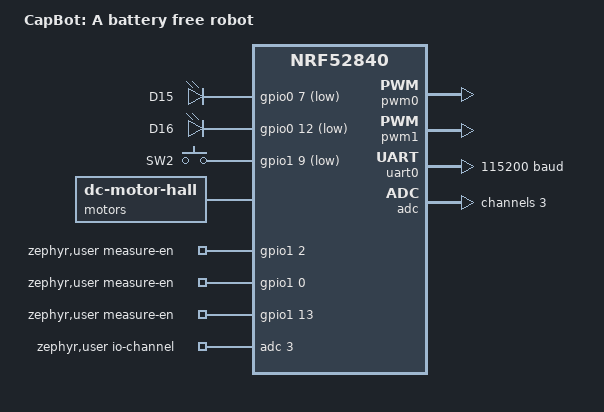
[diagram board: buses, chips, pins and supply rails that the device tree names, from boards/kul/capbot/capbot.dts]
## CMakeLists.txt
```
cmake_minimum_required(VERSION 3.20.0)
list(APPEND BOARD_ROOT ${CMAKE_CURRENT_SOURCE_DIR})
find_package(Zephyr REQUIRED HINTS $ENV{ZEPHYR_BASE})

project(peripheral)

include_directories(inc)
target_sources(app PRIVATE src/main.c src/capbot_io.c src/capbot_adc.c src/capbot_motor.c src/robot_control_service.c)
```

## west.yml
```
# Source: inspired by https://youtu.be/PVhu5rg_SGY?si=bh-u1Fmv55d89Slv

manifest:
    version: 0.13

    projects:
        # The nRF Connect SDK
        - name: nrf
          url: https://github.com/nrfconnect/sdk-nrf
          revision: v2.7.0
          import:
              file: west.yml
              path-prefix: deps
              name-allowlist:
                  - cmsis
                  - hal_nordic
                  - nrfxlib
                  - zephyr

    self:
        path: peripheral
```

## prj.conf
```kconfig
# Enable serial driver
CONFIG_SERIAL=y

# Enable console drivers
CONFIG_CONSOLE=y
CONFIG_UART_CONSOLE=y

# Enable logging
CONFIG_LOG=y


# Enable BLE
CONFIG_BT=y
CONFIG_BT_PERIPHERAL=y
CONFIG_BT_GATT_CACHING=n
```

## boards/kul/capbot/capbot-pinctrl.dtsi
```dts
// Pin mapping for CapBot

&pinctrl {
    pwm0_default: pwm0_default {
        group1 {
            psels = <NRF_PSEL(PWM_OUT0, 0, 9)>,
                    <NRF_PSEL(PWM_OUT1, 0, 15)>,
                    <NRF_PSEL(PWM_OUT2, 1, 10)>,
                    <NRF_PSEL(PWM_OUT3, 0, 30)>;
        };
    };

    pwm1_default: pwm1_default {
        group1 {
            psels = <NRF_PSEL(PWM_OUT0, 0, 10)>,
                    <NRF_PSEL(PWM_OUT1, 0, 17)>,
                    <NRF_PSEL(PWM_OUT2, 1, 11)>,
                    <NRF_PSEL(PWM_OUT3, 0, 31)>;
        };
    };

    uart0_default: uart0_default {
        group1 {
            psels = <NRF_PSEL(UART_RX, 0, 24)>;
            bias-pull-up;
        };
        group2 {
            psels = <NRF_PSEL(UART_TX, 0, 13)>;
        };
    };

    uart0_sleep: uart0_sleep {
        group1 {
            psels = <NRF_PSEL(UART_RX, 0, 24)>,
                    <NRF_PSEL(UART_TX, 0, 13)>;
            low-power-enable;
        };
    };
};
```

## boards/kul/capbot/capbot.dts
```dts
/dts-v1/;
#include <nordic/nrf52840_qiaa.dtsi>
#include "capbot-pinctrl.dtsi"

/ {
    model = "CapBot: A battery free robot";
    compatible = "kul,capbot";

    chosen {
        zephyr,console = &uart0;
        zephyr,sram = &sram0;
        zephyr,flash = &flash0;
        zephyr,code-partition = &slot0_partition;
    };

    leds {
        compatible = "gpio-leds";
        led0: led_0 {
            gpios = <&gpio0 7 GPIO_ACTIVE_LOW>;
            label = "D15";
        };
        led1: led_1 {
            gpios = <&gpio0 12 GPIO_ACTIVE_LOW>;
            label = "D16";
        };
    };

    buttons {
        compatible = "gpio-keys";
        button0: button_0 {
            gpios = <&gpio1 9 GPIO_ACTIVE_LOW>;
            label = "SW2";
        };
    };

    motors {
        compatible = "dc-motor-hall";

        motor1: motor_1 {
            // Switch pins for left-side motors
            pwms = <&pwm1 0 PWM_MSEC(20) PWM_POLARITY_NORMAL>,
                   <&pwm0 0 PWM_MSEC(20) PWM_POLARITY_NORMAL>;

            hall-gpios = <&gpio1 6 GPIO_ACTIVE_HIGH>,
                         <&gpio1 4 GPIO_ACTIVE_HIGH>;

        };

        motor2: motor_2 {
            pwms = <&pwm0 1 PWM_MSEC(20) PWM_POLARITY_NORMAL>,
                   <&pwm1 1 PWM_MSEC(20) PWM_POLARITY_NORMAL>;
            hall-gpios = <&gpio0 20 GPIO_ACTIVE_HIGH>,
                         <&gpio0 22 GPIO_ACTIVE_HIGH>;
        };

        motor3: motor_3 {
            // Switch pins for left-side motors
            pwms = <&pwm1 2 PWM_MSEC(20) PWM_POLARITY_NORMAL>,
                   <&pwm0 2 PWM_MSEC(20) PWM_POLARITY_NORMAL>;
            hall-gpios = <&gpio0 3 GPIO_ACTIVE_HIGH>,
                         <&gpio0 2 GPIO_ACTIVE_HIGH>;
        };

        motor4: motor_4 {
            pwms = <&pwm0 3 PWM_MSEC(20) PWM_POLARITY_NORMAL>,
                   <&pwm1 3 PWM_MSEC(20) PWM_POLARITY_NORMAL>;
            hall-gpios = <&gpio0 28 GPIO_ACTIVE_HIGH>,
                         <&gpio0 29 GPIO_ACTIVE_HIGH>;
        };
    };

    zephyr,user {
        io-channels = <&adc 3>;
        measure-en-gpios = <&gpio1 2 GPIO_ACTIVE_HIGH>,
                           <&gpio1 0 GPIO_ACTIVE_HIGH>,
                           <&gpio1 13 GPIO_ACTIVE_HIGH>;
    };

    aliases {
        // Aliases for use in software
        d15 = &led0;
        d16 = &led1;
        sw2 = &button0;
        mfl = &motor1;
        mfr = &motor2;
        mbl = &motor3;
        mbr = &motor4;
    };
};

&flash0 {
    partitions {
        compatible = "fixed-partitions";
        #address-cells = <1>;
        #size-cells = <1>;

        boot_partition: partition@0 {
            label = "mcuboot";
            reg = <0x00000000 DT_SIZE_K(48)>;
        };

        slot0_partition: partition@c000 {
            label = "image-0";
            reg = <0x0000c000 DT_SIZE_K(472)>;
        };

        slot1_partition: partition@82000 {
            label = "image-1";
            reg = <0x00082000 DT_SIZE_K(472)>;
        };

        storage_partition: partition@f8000 {
            label = "storage";
            reg = <0x000f8000 DT_SIZE_K(32)>;
        };
    };
};

&gpiote {
    status = "okay";
};

&gpio0 {
    status = "okay";
};

&gpio1 {
    status = "okay";
};

&uicr {
    nfct-pins-as-gpios;
};

&nfct {
    status = "disabled";
};

&pwm0 {
    status = "okay";
    pinctrl-0 = <&pwm0_default>;
    pinctrl-names = "default";
};

&pwm1 {
    status = "okay";
    pinctrl-0 = <&pwm1_default>;
    pinctrl-names = "default";
};


&uart0 {
    status = "okay";
    current-speed = <115200>;
    pinctrl-0 = <&uart0_default>;
    pinctrl-1 = <&uart0_sleep>;
    pinctrl-names = "default", "sleep";
};


&adc {
    #address-cells = <1>;
    #size-cells = <0>;
    status = "okay";

    ain_3: channel@3 {
        reg = <3>;
        zephyr,gain = "ADC_GAIN_4"; /* nRF52840 DOCS: ΔVmeasure = Vref / GAIN */
        zephyr,reference = "ADC_REF_INTERNAL"; /* nRF52840 DOCS: Internal Vref = 600mV */
        zephyr,acquisition-time = <ADC_ACQ_TIME(ADC_ACQ_TIME_MICROSECONDS, 40)>; /* nRF52840 DOCS: input R > 400k => 40ms */
        zephyr,input-positive = <NRF_SAADC_AIN3>; /* P0.05 */
        zephyr,resolution = <14>;
    };

};

&temp {
    status = "disabled";
};

&cryptocell {
    status = "disabled";
};

&ecb {
    status = "disabled";
};

&ccm {
    status = "disabled";
};


&acl {
    status = "disabled";
};
```

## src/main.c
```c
/**
 * @file main.c
 * @author Lowie Deferme <lowie.deferme@kuleuven.be>
 * @brief Robot control via BLE GATT service
 */

#include <zephyr/kernel.h>
#include <zephyr/logging/log.h>

#include "capbot.h"

LOG_MODULE_REGISTER(capbot, LOG_LEVEL_DBG);

// -----------------------------------------------------------------------------
// Structure & methods for inter-thread comm/sync
// -----------------------------------------------------------------------------

K_MUTEX_DEFINE(ble_status_mutex);

typedef enum ble_status_e
{
    BLE_ADVERTISING,
    BLE_CONNECTED,
    BLE_ERROR,
} ble_status_t;

/** @brief Global static to hold BLE status. Never access directly but use `ble_status` and `update_ble_status` instead */
static ble_status_t ble_status_g;

ble_status_t ble_status(void)
{
    ble_status_t clone;
    k_mutex_lock(&ble_status_mutex, K_FOREVER);
    clone = ble_status_g;
    k_mutex_unlock(&ble_status_mutex);
    return clone;
}

void update_ble_status(ble_status_t status)
{
    k_mutex_lock(&ble_status_mutex, K_FOREVER);
    // TODO: FSM?
    ble_status_g = status;
    k_mutex_unlock(&ble_status_mutex);
}

// -----------------------------------------------------------------------------
// BLE task
//
// Initialize robot's BLE GATT service
// -----------------------------------------------------------------------------

void t_ble_init_ep(void *, void *, void *)
{
    LOG_DBG("Initializing BLE...");
    for (;;)
    {
        LOG_WRN("Fake BLE status updates");
        update_ble_status(BLE_ADVERTISING);
        k_sleep(K_MSEC(5000));
        update_ble_status(BLE_CONNECTED);
        k_sleep(K_MSEC(5000));
        update_ble_status(BLE_ERROR);
        k_sleep(K_MSEC(5000));
    }
}

#define T_BLE_INIT_STACKSIZE 1024
#define T_BLE_INIT_PRIORITY 1
#define T_BLE_INIT_OPTIONS 0
#define T_BLE_INIT_DELAY 0
K_THREAD_DEFINE(ble_init, T_BLE_INIT_STACKSIZE, t_ble_init_ep, NULL, NULL, NULL, T_BLE_INIT_PRIORITY, T_BLE_INIT_OPTIONS, T_BLE_INIT_DELAY);

// -----------------------------------------------------------------------------
// Status led task
//
// This task makes the status leds blink in different patterns based on the
// current BLE status
// -----------------------------------------------------------------------------

/**
 * @brief Determine pattern mask for BLE status led
 *
 * @param status Status to get pattern for
 * @return uint16_t The pattern
 */
uint16_t ble_led_pattern(ble_status_t status)
{
    switch (status)
    {
    case BLE_ADVERTISING:
        return 0b1111111100000000;
    case BLE_CONNECTED:
        return 0b1111111111111111;
    case BLE_ERROR:
        return 0b1010101010101010;
    default:
        LOG_WRN("Could not determine BLE status led pattern, using ERROR pattern instead");
        return ble_led_pattern(BLE_ERROR);
    }
}

/** @brief Entry point of status led task */
void t_status_led_ep(void *, void *, void *)
{
    const cb_led_t status_led = CB_D15;
    uint16_t led_pattern = 0;
    uint8_t pattern_index = 0;

    if (cb_io_init())
    {
        LOG_ERR("Could not initialize robot IO");
        return;
    }

    // DEBUG: print VCap
    cb_measure_init();
    LOG_DBG("VCap = %d mV", cb_measure_vcap());

    // DEBUG: run motors for a sec.
    cb_motor_speed_t speed = {.front_left = 80, .front_right = -80, .back_left = 80, .back_right = -80};
    cb_motor_init();
    cb_set_motor_speed(&speed);
    k_sleep(K_MSEC(1000));
    cb_stop();

    for (;;)
    {
        // Get pattern based on current BLE status
        led_pattern = ble_led_pattern(ble_status());
        // Update led based on patters and index
        int err = ((led_pattern >> pattern_index) & 0b1) ? cb_led_set(status_led) : cb_led_clr(status_led);
        if (err)
            LOG_WRN("Error during BLE status led update");
        // Update index
        pattern_index = (pattern_index + 1) % (sizeof(led_pattern) * 8);
        // Sleep before next update => circa one pattern cycle per second
        k_sleep(K_MSEC(62));
    }
}

#define T_STATUS_LED_STACKSIZE 256 * 4
#define T_STATUS_LED_PRIORITY 10
#define T_STATUS_LED_OPTIONS 0
#define T_STATUS_LED_DELAY 0
K_THREAD_DEFINE(status_led, T_STATUS_LED_STACKSIZE, t_status_led_ep, NULL, NULL, NULL, T_STATUS_LED_PRIORITY, T_STATUS_LED_OPTIONS, T_STATUS_LED_DELAY);
```

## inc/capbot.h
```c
/**
 * @file capbot.h
 * @author Lowie Deferme <lowie.deferme@kuleuven.be>
 * @brief Header file for CapBot library
 */

#ifndef CAPBOT_H
#define CAPBOT_H

// -----------------------------------------------------------------------------
// On-board IO
// -----------------------------------------------------------------------------

typedef enum
{
    CB_D15,
    CB_D16,
} cb_led_t;

/** @brief Initialize robot's leds & button */
int cb_io_init(void);

/**
 * @brief Turn led on
 *
 * @param led The led to set
 */
int cb_led_set(cb_led_t led);

/**
 * @brief Turn led off
 *
 * @param led The led to clear
 */
int cb_led_clr(cb_led_t led);

/**
 * @brief Toggle a led
 *
 * @param led The led to toggle
 */
int cb_led_tgl(cb_led_t led);

/**
 * @brief Get a led's status
 *
 * @param led The led to get
 * @retval 0: the led is turned off
 * @retval 1: the led is turned on
 */
int cb_led_get(cb_led_t led);

/**
 * @brief Get button status
 *
 * @retval 0: the button isn't pressed
 * @retval 1: the button is pressed
 */
int cb_btn_get(void);

// -----------------------------------------------------------------------------
// On-board voltage measurements
// -----------------------------------------------------------------------------
typedef enum
{
    CB_VNONE,
    CB_VIN,
    CB_VCAP,
    CB_VMOTOR,
} cb_measure_t;

/**
 * @brief Initialize robot's voltage measurement system
 *
 * @return int
 */
int cb_measure_init(void);

/**
 * @brief Measure supercapacitor voltage
 *
 * @retval >0 : The measured voltage in mV
 * @retval `E_ADC_ERR` : Could not read from ADC
 */
int cb_measure_vcap(void);

// -----------------------------------------------------------------------------
// Robot drive API
// -----------------------------------------------------------------------------

/** @brief Motor speeds (rpm) */
typedef struct
{
    /** @brief Front left motor speed (rpm)*/
    int front_left;
    /** @brief Front right motor speed (rpm)*/
    int front_right;
    /** @brief Back left motor speed (rpm)*/
    int back_left;
    /** @brief Back right motor speed (rpm)*/
    int back_right;
} cb_motor_speed_t;

/**
 * @brief Initialize motors
 * @details v1.0 equivalent: Motors_init(void)
 * @details v2.* equivalent: fb_motor_init(void)
 */
int cb_motor_init(void);


/**
 * @brief Set motor speeds
 * @param speeds struct with the new speeds
 */
void cb_set_motor_speed(cb_motor_speed_t *speeds);

/**
 * @brief Get motor speeds
 * @param speeds struct to populate with the new speeds
 */
void cb_get_motor_speed(cb_motor_speed_t *speeds);

/* Convenience API overview:
 *                          ^
 *                          |
 *                       cb_forw
 *                          |
 *
 *                 +----------------+
 *             +---+                +---+
 *             |   |                |   |
 *             |   |                |   |
 *             |   |                |   |
 *             |   |                |   |
 *             +---+                +---+
 *                 |                |
 *       cb_left   |                |   cb_right
 *  <-----------   |    cb_stop     |   ------------>
 *                 |                |
 *                 |                |
 *             +---+                +---+
 *             |   |                |   |
 *             |   |                |   |
 *             |   |                |   |
 *             |   |                |   |
 *             +---+                +---+
 *                 +----------------+
 *
 *                          |
 *                       cb_back
 *                          |
 *                          v
 */

/** @brief Stop the robot */
void cb_stop(void);

/**
 * @brief Move robot forwards
 * @details v1.0 equivalent: FreeBotStraight_Forward(bool MotorSpeed)
 * @details v2.* equivalent: fb_straight_forw(unsigned int speed)
 *
 * @param speed Desired speed (rpm)
 */
// void cb_forw(unsigned int speed);

/**
 * @brief Move robot backwards
 * @details v1.0 equivalent: FreeBotStraight_Backward(bool MotorSpeed)
 * @details v2.* equivalent: fb_straight_back(unsigned int speed)
 *
 * @param speed Desired speed (rpm)
 */
// void cb_back(unsigned int speed);

/**
 * @brief Move robot right
 * @details v1.0 equivalent: FreeBotSide_Right(bool MotorSpeed)
 * @details v2.* equivalent: fb_side_right(unsigned int speed)
 *
 * @param speed Desired speed (rpm)
 */
// void cb_right(unsigned int speed);

/**
 * @brief Move robot  left
 * @details v1.0 equivalent: FreeBotSide_Left(bool MotorSpeed)
 * @details v2.* equivalent: fb_side_left(unsigned int speed)
 *
 * @param speed Desired speed (rpm)
 */
// void cb_left(unsigned int speed);

/**
 * @brief Rotate clockwise
 * @details v1.0 equivalent: FreeBotRotate_CLOCKWISE(bool MotorSpeed)
 * @details v2.* equivalent: fb_rotate_cw(unsigned int speed)
 *
 * @param speed Desired wheel speed (rpm)
 */
// void cb_rotate_cw(unsigned int speed);

/**
 * @brief Rotate counterclockwise
 * @details v1.0 equivalent: FreeBotRotate_COUNTERCLOCKWISE(bool MotorSpeed)
 * @details v2.* equivalent: fb_rotate_ccw(unsigned int speed)
 *
 * @param speed Desired wheel speed (rpm)
 */
// void cb_rotate_ccw(unsigned int speed);

#endif /* CAPBOT_H */
```

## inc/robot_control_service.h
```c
/**
 * @file robot_control_service.h
 * @author Lowie Deferme <lowie.deferme@kuleuven.be>
 * @date 2025-01-02
 */

#ifndef RCS_H
#define RCS_H

#include <stdint.h>
#include <zephyr/bluetooth/uuid.h>

// -----------------------------------------------------------------------------
// Robot Control Service (RCS)
// -----------------------------------------------------------------------------

#define BT_UUID_RCS_VAL BT_UUID_128_ENCODE(0x00000030, 0x0000, 0x1000, 0x8000, 0x00805f9b34fb)
#define BT_UUID_RCS BT_UUID_DECLARE_128(BT_UUID_RCS_VAL)

// -----------------------------------------------------------------------------
// Motor drive characteristic
// -----------------------------------------------------------------------------

#define BT_UUID_RCS_DRIVE_VAL BT_UUID_128_ENCODE(0x00000031, 0x0000, 0x1000, 0x8000, 0x00805f9b34fb)
#define BT_UUID_RCS_DRIVE BT_UUID_DECLARE_128(BT_UUID_RCS_DRIVE_VAL)

/** @brief Data format for motor drive characteristic */
typedef struct
{
    /** @brief Target speed (RPM) for front left motor */
    int8_t fl;
    /** @brief Target speed (RPM) for front right motor */
    int8_t fr;
    /** @brief Target speed (RPM) for back left motor */
    int8_t bl;
    /** @brief Target speed (RPM) for back right motor */
    int8_t br;
    /** @brief The amount of milliseconds to keep target speeds before stopping */
    uint32_t dur;
} rcs_drive_t;

// -----------------------------------------------------------------------------
// Motor speed characteristic
// -----------------------------------------------------------------------------

#define BT_UUID_RCS_SPEED_VAL BT_UUID_128_ENCODE(0x00000032, 0x0000, 0x1000, 0x8000, 0x00805f9b34fb)
#define BT_UUID_RCS_SPEED BT_UUID_DECLARE_128(BT_UUID_RCS_SPEED_VAL)

/** @brief Data format for motor speed characteristic */
typedef struct
{
    /** @brief Measured speed (RPM) of front left motor */
    int8_t fl;
    /** @brief Measured speed (RPM) of front right motor */
    int8_t fr;
    /** @brief Measured speed (RPM) of back left motor */
    int8_t bl;
    /** @brief Measured speed (RPM) of back right motor */
    int8_t br;
} rcs_speed_t;

// -----------------------------------------------------------------------------
// Motor angle characteristic
// -----------------------------------------------------------------------------

#define BT_UUID_RCS_ANGLE_VAL BT_UUID_128_ENCODE(0x00000033, 0x0000, 0x1000, 0x8000, 0x00805f9b34fb)
#define BT_UUID_RCS_ANGLE BT_UUID_DECLARE_128(BT_UUID_RCS_ANGLE_VAL)

/** @brief Data format for motor angle characteristic */
typedef struct
{
    /** @brief Measured angle (degrees) of front left motor */
    int32_t fl;
    /** @brief Measured angle (degrees) of front right motor */
    int32_t fr;
    /** @brief Measured angle (degrees) of back left motor */
    int32_t bl;
    /** @brief Measured angle (degrees) of back right motor */
    int32_t br;
} rcs_angle_t;

// -----------------------------------------------------------------------------
// Voltage measurement characteristic
// -----------------------------------------------------------------------------

#define BT_UUID_RCS_VOLT_VAL BT_UUID_128_ENCODE(0x00000034, 0x0000, 0x1000, 0x8000, 0x00805f9b34fb)
#define BT_UUID_RCS_VOLT BT_UUID_DECLARE_128(BT_UUID_RCS_VOLT_VAL)

/** @brief Data format for voltage measurement characteristic */
typedef struct
{
    /** @brief Measured voltage (mV) */
    uint16_t volt;
} rcs_volt_t;

#endif /* RCS_H */
```

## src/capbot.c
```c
/**
 * @file capbot.c
 * @author Lowie Deferme <lowie.deferme@kuleuven.be>
 * @brief CapBot library implementation
 */

#include <zephyr/drivers/gpio.h>
#include <zephyr/drivers/adc.h>

#include "capbot.h"

// -----------------------------------------------------------------------------
// Robot's on-board IO
// -----------------------------------------------------------------------------

static const struct gpio_dt_spec d15 = GPIO_DT_SPEC_GET(DT_ALIAS(d15), gpios);
static const struct gpio_dt_spec d16 = GPIO_DT_SPEC_GET(DT_ALIAS(d16), gpios);
static const struct gpio_dt_spec sw2 = GPIO_DT_SPEC_GET(DT_ALIAS(sw2), gpios);

int cb_io_init(void)
{
    int err = 0;

    if (gpio_is_ready_dt(&d15))
    {
        err |= gpio_pin_configure_dt(&d15, GPIO_OUTPUT | GPIO_INPUT);
        err |= gpio_pin_set_dt(&d15, 0);
    }
    else
    {
        err = 1;
    }

    if (gpio_is_ready_dt(&d16))
    {
        err |= gpio_pin_configure_dt(&d16, GPIO_OUTPUT | GPIO_INPUT);
        err |= gpio_pin_set_dt(&d16, 0);
    }
    else
    {
        err = 1;
    }

    if (gpio_is_ready_dt(&sw2))
    {
        err |= gpio_pin_configure_dt(&sw2, GPIO_INPUT);
    }
    else
    {
        err = 1;
    }

    return err;
}

const struct gpio_dt_spec *cb_led_from_id(cb_led_t led)
{
    switch (led)
    {
    case CB_D15:
        return &d15;
    case CB_D16:
        return &d16;
    default:
        return NULL;
    }
}

int cb_led_set(cb_led_t led)
{
    const struct gpio_dt_spec *led_dt = cb_led_from_id(led);
    if (led_dt != NULL)
    {
        return gpio_pin_set_dt(led_dt, 1);
    }

    return 1;
}

int cb_led_clr(cb_led_t led)
{
    const struct gpio_dt_spec *led_dt = cb_led_from_id(led);
    if (led_dt != NULL)
    {
        return gpio_pin_set_dt(led_dt, 0);
    }

    return 1;
}

int cb_led_tgl(cb_led_t led)
{
    const struct gpio_dt_spec *led_dt = cb_led_from_id(led);
    if (led_dt != NULL)
    {
        return gpio_pin_toggle_dt(led_dt);
    }

    return 1;
}

int cb_led_get(cb_led_t led)
{
    const struct gpio_dt_spec *led_dt = cb_led_from_id(led);
    if (led_dt != NULL)
    {
        return gpio_pin_get_dt(led_dt);
    }

    return 1;
}

int cb_btn_get(void)
{
    return gpio_pin_get_dt(&sw2);
}

// -----------------------------------------------------------------------------
// On-board voltage measurements
// -----------------------------------------------------------------------------

static const struct adc_dt_spec v_measure = ADC_DT_SPEC_GET(DT_PATH(zephyr_user));
static const struct gpio_dt_spec measure_en_vin = GPIO_DT_SPEC_GET_BY_IDX(DT_PATH(zephyr_user), measure_en_gpios, 0);
static const struct gpio_dt_spec measure_en_vcap = GPIO_DT_SPEC_GET_BY_IDX(DT_PATH(zephyr_user), measure_en_gpios, 1);
static const struct gpio_dt_spec measure_en_vmotor = GPIO_DT_SPEC_GET_BY_IDX(DT_PATH(zephyr_user), measure_en_gpios, 2);

int cb_measure_init(void)
{
    int err = 0;

    if (adc_is_ready_dt(&v_measure))
    {
        err |= adc_channel_setup_dt(&v_measure);
    }
    else
    {
        return 1;
    }

    if (gpio_is_ready_dt(&measure_en_vin))
    {
        err |= gpio_pin_configure_dt(&measure_en_vin, GPIO_OUTPUT);
        err |= gpio_pin_set_dt(&measure_en_vin, 0);
    }
    else
    {
        err = 1;
    }

    if (gpio_is_ready_dt(&measure_en_vcap))
    {
        err |= gpio_pin_configure_dt(&measure_en_vcap, GPIO_OUTPUT);
        err |= gpio_pin_set_dt(&measure_en_vcap, 0);
    }
    else
    {
        err = 1;
    }

    if (gpio_is_ready_dt(&measure_en_vmotor))
    {
        err |= gpio_pin_configure_dt(&measure_en_vmotor, GPIO_OUTPUT);
        err |= gpio_pin_set_dt(&measure_en_vmotor, 0);
    }
    else
    {
        err = 1;
    }

    return 0;
}

int cb_measure_select(cb_measure_t sel)
{
    int err = 0;
    switch (sel)
    {
    case CB_VNONE:
        err |= gpio_pin_set_dt(&measure_en_vin, 0);
        err |= gpio_pin_set_dt(&measure_en_vcap, 0);
        err |= gpio_pin_set_dt(&measure_en_vmotor, 0);
        return err;
    case CB_VIN:
        err |= cb_measure_select(CB_VNONE);
        err |= gpio_pin_set_dt(&measure_en_vin, 1);
        return err;
    case CB_VCAP:
        err |= cb_measure_select(CB_VNONE);
        err |= gpio_pin_set_dt(&measure_en_vcap, 1);
        return err;
    case CB_VMOTOR:
        err |= cb_measure_select(CB_VNONE);
        err |= gpio_pin_set_dt(&measure_en_vmotor, 1);
        return err;
    default:
        err |= cb_measure_select(CB_VNONE);
        return err | 1;
    }
}

int cb_measure_vcap(void)
{
    if (!gpio_pin_get_dt(&measure_en_vcap))
    {
        cb_measure_select(CB_VCAP);
        k_sleep(K_MSEC(10));
    }

    int err = 0;
    uint32_t buf;
    struct adc_sequence sequence = {
        .buffer = &buf,
        /* buffer size in bytes, not number of samples */
        .buffer_size = sizeof(buf),
    };

    err |= adc_sequence_init_dt(&v_measure, &sequence);
    err |= adc_read_dt(&v_measure, &sequence);
    err |= adc_raw_to_millivolts_dt(&v_measure, &buf);

    // TODO: Verify conversion (below is a theoretic value according to voltage divider)
    return buf * 40;
}
```

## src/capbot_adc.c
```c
/**
 * @file capbot_adc.c
 * @author Lowie Deferme <lowie.deferme@kuleuven.be>
 * @brief CapBot voltage measurements
 */

#include <zephyr/drivers/gpio.h>
#include <zephyr/drivers/adc.h>

#include "capbot.h"

static const struct adc_dt_spec v_measure = ADC_DT_SPEC_GET(DT_PATH(zephyr_user));
static const struct gpio_dt_spec measure_en_vin = GPIO_DT_SPEC_GET_BY_IDX(DT_PATH(zephyr_user), measure_en_gpios, 0);
static const struct gpio_dt_spec measure_en_vcap = GPIO_DT_SPEC_GET_BY_IDX(DT_PATH(zephyr_user), measure_en_gpios, 1);
static const struct gpio_dt_spec measure_en_vmotor = GPIO_DT_SPEC_GET_BY_IDX(DT_PATH(zephyr_user), measure_en_gpios, 2);

int cb_measure_init(void)
{
    int err = 0;

    if (adc_is_ready_dt(&v_measure))
    {
        err |= adc_channel_setup_dt(&v_measure);
    }
    else
    {
        return 1;
    }

    if (gpio_is_ready_dt(&measure_en_vin))
    {
        err |= gpio_pin_configure_dt(&measure_en_vin, GPIO_OUTPUT);
        err |= gpio_pin_set_dt(&measure_en_vin, 0);
    }
    else
    {
        err = 1;
    }

    if (gpio_is_ready_dt(&measure_en_vcap))
    {
        err |= gpio_pin_configure_dt(&measure_en_vcap, GPIO_OUTPUT);
        err |= gpio_pin_set_dt(&measure_en_vcap, 0);
    }
    else
    {
        err = 1;
    }

    if (gpio_is_ready_dt(&measure_en_vmotor))
    {
        err |= gpio_pin_configure_dt(&measure_en_vmotor, GPIO_OUTPUT);
        err |= gpio_pin_set_dt(&measure_en_vmotor, 0);
    }
    else
    {
        err = 1;
    }

    return 0;
}

int cb_measure_select(cb_measure_t sel)
{
    int err = 0;
    switch (sel)
    {
    case CB_VNONE:
        err |= gpio_pin_set_dt(&measure_en_vin, 0);
        err |= gpio_pin_set_dt(&measure_en_vcap, 0);
        err |= gpio_pin_set_dt(&measure_en_vmotor, 0);
        return err;
    case CB_VIN:
        err |= cb_measure_select(CB_VNONE);
        err |= gpio_pin_set_dt(&measure_en_vin, 1);
        return err;
    case CB_VCAP:
        err |= cb_measure_select(CB_VNONE);
        err |= gpio_pin_set_dt(&measure_en_vcap, 1);
        return err;
    case CB_VMOTOR:
        err |= cb_measure_select(CB_VNONE);
        err |= gpio_pin_set_dt(&measure_en_vmotor, 1);
        return err;
    default:
        err |= cb_measure_select(CB_VNONE);
        return err | 1;
    }
}

int cb_measure_vcap(void)
{
    if (!gpio_pin_get_dt(&measure_en_vcap))
    {
        cb_measure_select(CB_VCAP);
        k_sleep(K_MSEC(10));
    }

    int err = 0;
    uint32_t buf;
    struct adc_sequence sequence = {
        .buffer = &buf,
        /* buffer size in bytes, not number of samples */
        .buffer_size = sizeof(buf),
    };

    err |= adc_sequence_init_dt(&v_measure, &sequence);
    err |= adc_read_dt(&v_measure, &sequence);
    err |= adc_raw_to_millivolts_dt(&v_measure, &buf);

    // TODO: Verify conversion (below is a theoretic value according to voltage divider)
    return buf * 40;
}
```

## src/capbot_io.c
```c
/**
 * @file capbot_io.c
 * @author Lowie Deferme <lowie.deferme@kuleuven.be>
 * @brief CapBot on-board IO library
 */

#include <zephyr/drivers/gpio.h>

#include "capbot.h"

static const struct gpio_dt_spec d15 = GPIO_DT_SPEC_GET(DT_ALIAS(d15), gpios);
static const struct gpio_dt_spec d16 = GPIO_DT_SPEC_GET(DT_ALIAS(d16), gpios);
static const struct gpio_dt_spec sw2 = GPIO_DT_SPEC_GET(DT_ALIAS(sw2), gpios);

int cb_io_init(void)
{
    int err = 0;

    if (gpio_is_ready_dt(&d15))
    {
        err |= gpio_pin_configure_dt(&d15, GPIO_OUTPUT | GPIO_INPUT);
        err |= gpio_pin_set_dt(&d15, 0);
    }
    else
    {
        err = 1;
    }

    if (gpio_is_ready_dt(&d16))
    {
        err |= gpio_pin_configure_dt(&d16, GPIO_OUTPUT | GPIO_INPUT);
        err |= gpio_pin_set_dt(&d16, 0);
    }
    else
    {
        err = 1;
    }

    if (gpio_is_ready_dt(&sw2))
    {
        err |= gpio_pin_configure_dt(&sw2, GPIO_INPUT);
    }
    else
    {
        err = 1;
    }

    return err;
}

const struct gpio_dt_spec *cb_led_from_id(cb_led_t led)
{
    switch (led)
    {
    case CB_D15:
        return &d15;
    case CB_D16:
        return &d16;
    default:
        return NULL;
    }
}

int cb_led_set(cb_led_t led)
{
    const struct gpio_dt_spec *led_dt = cb_led_from_id(led);
    if (led_dt != NULL)
    {
        return gpio_pin_set_dt(led_dt, 1);
    }

    return 1;
}

int cb_led_clr(cb_led_t led)
{
    const struct gpio_dt_spec *led_dt = cb_led_from_id(led);
    if (led_dt != NULL)
    {
        return gpio_pin_set_dt(led_dt, 0);
    }

    return 1;
}

int cb_led_tgl(cb_led_t led)
{
    const struct gpio_dt_spec *led_dt = cb_led_from_id(led);
    if (led_dt != NULL)
    {
        return gpio_pin_toggle_dt(led_dt);
    }

    return 1;
}

int cb_led_get(cb_led_t led)
{
    const struct gpio_dt_spec *led_dt = cb_led_from_id(led);
    if (led_dt != NULL)
    {
        return gpio_pin_get_dt(led_dt);
    }

    return 1;
}

int cb_btn_get(void)
{
    return gpio_pin_get_dt(&sw2);
}
```

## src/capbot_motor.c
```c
/**
 * @file capbot_motor.c
 * @author Lowie Deferme <lowie.deferme@kuleuven.be>
 * @brief CapBot motor control
 * @date 2024-12-23
 */

#include <zephyr/kernel.h>
#include <zephyr/drivers/gpio.h>
#include <zephyr/drivers/pwm.h>

#include "capbot.h"

#define PWM_PERIOD 20000000           /** ns */
#define PWM_MIN_DUTY_CYCLE 0          /** ns */
#define PWM_MAX_DUTY_CYCLE PWM_PERIOD /** ns */

#define MOTOR_RPM_MIN 0  /** RPM */
#define MOTOR_RPM_MAX 80 /** RPM */

#define HALL_TICKS_PER_REVOLUTION 1380

/** @brief Time delta over which motor RPM is calculated */
#define RPM_UPDATE_DELTA K_MSEC(20)
#define RPM_THREAD_PRIORITY 7
#define RPM_THREAD_STACKSIZE 265

#define ABS(n) ((n) > 0 ? (n) : -(n))
#define CLIP(n, min, max) ((n) > (max) ? (max) : ((n) < (min) ? (min) : (n)))
#define MAP(n, in_min, in_max, out_min, out_max) ((n - in_min) * (out_max - out_min) / (in_max - in_min) + out_min)

/**
 * @brief Convert from RPM to PWM duty-cycle
 */
static inline uint32_t rpm_to_duty_cycle(int rpm)
{
    uint32_t rpm_absolute, rpm_clipped, rpm_scaled;

    rpm_absolute = ABS(rpm);
    rpm_clipped = CLIP(rpm_absolute, MOTOR_RPM_MIN, MOTOR_RPM_MAX);
    rpm_scaled = MAP(rpm_clipped, MOTOR_RPM_MIN, MOTOR_RPM_MAX, PWM_MIN_DUTY_CYCLE, PWM_MAX_DUTY_CYCLE);

    return rpm_scaled;
}

/** @brief Holds a motor's GPIO handles */
struct motor_gpio
{
    const struct pwm_dt_spec in_a;
    const struct pwm_dt_spec in_b;
    const struct gpio_dt_spec hall_c1;
    const struct gpio_dt_spec hall_c2;
};

/** @brief For keeping track of motor timings based on hall sensors */
struct motor_timing
{
    int64_t step_prev;
    int64_t step_delta;
    uint64_t time_prev;
    uint64_t time_delta;
};

/** @brief Wraps everything related to one motor together*/
struct motor
{
    // Motor's IO handles
    const struct motor_gpio *gpio;
    // Callback info for motor's hall interrupt
    struct gpio_callback hall_cb_data;
    // To keep track of a motor's steps: counts up/down every hall interrupt
    int64_t step_count;
    // Keep track of each motor's step_delta & time_delta for calculating its speed
    struct motor_timing timing;
};

// -----------------------------------------------------------------------------
// GPIO pins for motor control
// -----------------------------------------------------------------------------

static const struct motor_gpio mfr_io = {
    .in_a = PWM_DT_SPEC_GET_BY_IDX(DT_ALIAS(mfr), 0),
    .in_b = PWM_DT_SPEC_GET_BY_IDX(DT_ALIAS(mfr), 1),
    .hall_c1 = GPIO_DT_SPEC_GET_BY_IDX(DT_ALIAS(mfr), hall_gpios, 0),
    .hall_c2 = GPIO_DT_SPEC_GET_BY_IDX(DT_ALIAS(mfr), hall_gpios, 1),
};

static const struct motor_gpio mfl_io = {
    .in_a = PWM_DT_SPEC_GET_BY_IDX(DT_ALIAS(mfl), 0),
    .in_b = PWM_DT_SPEC_GET_BY_IDX(DT_ALIAS(mfl), 1),
    .hall_c1 = GPIO_DT_SPEC_GET_BY_IDX(DT_ALIAS(mfl), hall_gpios, 0),
    .hall_c2 = GPIO_DT_SPEC_GET_BY_IDX(DT_ALIAS(mfl), hall_gpios, 1),
};

static const struct motor_gpio mbr_io = {
    .in_a = PWM_DT_SPEC_GET_BY_IDX(DT_ALIAS(mbr), 0),
    .in_b = PWM_DT_SPEC_GET_BY_IDX(DT_ALIAS(mbr), 1),
    .hall_c1 = GPIO_DT_SPEC_GET_BY_IDX(DT_ALIAS(mbr), hall_gpios, 0),
    .hall_c2 = GPIO_DT_SPEC_GET_BY_IDX(DT_ALIAS(mbr), hall_gpios, 1),
};

static const struct motor_gpio mbl_io = {
    .in_a = PWM_DT_SPEC_GET_BY_IDX(DT_ALIAS(mbl), 0),
    .in_b = PWM_DT_SPEC_GET_BY_IDX(DT_ALIAS(mbl), 1),
    .hall_c1 = GPIO_DT_SPEC_GET_BY_IDX(DT_ALIAS(mbl), hall_gpios, 0),
    .hall_c2 = GPIO_DT_SPEC_GET_BY_IDX(DT_ALIAS(mbl), hall_gpios, 1),
};

// -----------------------------------------------------------------------------
// Static objects for motors
// -----------------------------------------------------------------------------

static struct motor mfl = {.gpio = &mfl_io, .timing = {0, 0, 0, 0}, .step_count = 0};
static struct motor mfr = {.gpio = &mfr_io, .timing = {0, 0, 0, 0}, .step_count = 0};
static struct motor mbl = {.gpio = &mbl_io, .timing = {0, 0, 0, 0}, .step_count = 0};
static struct motor mbr = {.gpio = &mbr_io, .timing = {0, 0, 0, 0}, .step_count = 0};

// -----------------------------------------------------------------------------
// Motor control: private functions
// -----------------------------------------------------------------------------

/**
 * @brief Initialize a motor's IO
 *
 * @param motor
 * @return int
 */
static int init_motor_io(struct motor *motor, gpio_callback_handler_t hall_isr)
{
    int err = 0;

    err |= !pwm_is_ready_dt(&motor->gpio->in_a);
    err |= !pwm_is_ready_dt(&motor->gpio->in_b);

    if (err)
    {
        return err;
    }

    err |= !gpio_is_ready_dt(&motor->gpio->hall_c1);
    err |= !gpio_is_ready_dt(&motor->gpio->hall_c2);

    if (err)
    {
        return err;
    }

    err |= gpio_pin_configure_dt(&motor->gpio->hall_c1, GPIO_INPUT);
    err |= gpio_pin_configure_dt(&motor->gpio->hall_c2, GPIO_INPUT);

    if (err)
    {
        return err;
    }

    gpio_init_callback(&motor->hall_cb_data, hall_isr, BIT(motor->gpio->hall_c2.pin));
    err |= gpio_pin_interrupt_configure_dt(&motor->gpio->hall_c2, GPIO_INT_EDGE_BOTH);
    err |= gpio_add_callback_dt(&motor->gpio->hall_c2, &motor->hall_cb_data);

    return err;
}

/**
 * @brief Let a motor turn with given direction
 *
 * @param motor Pointer to motor's wrapper struct
 * @param direction Direction to turn (`1` = forwards, `0` = backwards)
 */
static inline void set_motor_direction(const struct motor *motor, uint8_t direction, uint32_t duty_cycle)
{
    pwm_set_dt(&(motor->gpio->in_a), PWM_PERIOD, direction ? PWM_MIN_DUTY_CYCLE : duty_cycle);
    pwm_set_dt(&(motor->gpio->in_b), PWM_PERIOD, direction ? duty_cycle : PWM_MIN_DUTY_CYCLE);
}

/**
 * @brief Stop a motor
 *
 * @param motor Pointer to motor's wrapper struct
 */
static inline void set_motor_stop(const struct motor *motor)
{
    pwm_set_dt(&(motor->gpio->in_a), PWM_PERIOD, PWM_MIN_DUTY_CYCLE);
    pwm_set_dt(&(motor->gpio->in_b), PWM_PERIOD, PWM_MIN_DUTY_CYCLE);
}

/**
 * @brief Update motor timing
 */
static inline void update_motor_timing(struct motor *motor, uint64_t time_curr)
{
    motor->timing.step_delta = motor->step_count - motor->timing.step_prev;
    motor->timing.step_prev = motor->step_count;
    motor->timing.time_delta = time_curr - motor->timing.time_prev;
    motor->timing.time_prev = time_curr;
}

/**
 * @brief Get motor's angle in degrees
 */
static inline int get_motor_angle(struct motor *motor)
{
    // TODO: Verify conversion (below is an educated guess)
    return motor->step_count * 360 / HALL_TICKS_PER_REVOLUTION;
}

/**
 * @brief Get motor's speed in RPM
 */
static inline int get_motor_rpm(struct motor *motor)
{
    // FIXME: Mutex timing info?
    int64_t step_d = motor->timing.step_delta;
    uint64_t time_d = motor->timing.time_delta;

    // TODO: Verify conversion (below is an educated guess)
    return (step_d * 60000) / (int64_t)k_ticks_to_ms_near64(time_d * HALL_TICKS_PER_REVOLUTION);
}

// -----------------------------------------------------------------------------
// Motor control: interrupts and threads
// -----------------------------------------------------------------------------

/**
 * @brief Generic hall sensor interrupt handler (called by motor specific ones)
 */
static inline void hall_isr(struct motor *motor)
{
    int c1 = gpio_pin_get_dt(&motor->gpio->hall_c1);
    int c2 = gpio_pin_get_dt(&motor->gpio->hall_c2);

    if (c1 == c2)
    {
        motor->step_count++;
    }
    else
    {
        motor->step_count--;
    }
}

void mfr_hall_isr(const struct device *dev, struct gpio_callback *cb, uint32_t pins) { hall_isr(&mfr); }
void mfl_hall_isr(const struct device *dev, struct gpio_callback *cb, uint32_t pins) { hall_isr(&mfl); }
void mbr_hall_isr(const struct device *dev, struct gpio_callback *cb, uint32_t pins) { hall_isr(&mbr); }
void mbl_hall_isr(const struct device *dev, struct gpio_callback *cb, uint32_t pins) { hall_isr(&mbl); }

/**
 * @brief Periodically update timing info for calculating (average) motor speeds
 */
void t_motor_timing_update(void *, void *, void *)
{
    for (;;)
    {
        update_motor_timing(&mfr, k_uptime_ticks());
        update_motor_timing(&mfl, k_uptime_ticks());
        update_motor_timing(&mbr, k_uptime_ticks());
        update_motor_timing(&mbl, k_uptime_ticks());

        k_sleep(RPM_UPDATE_DELTA);
    }
}
K_THREAD_DEFINE(motor_timing_update, RPM_THREAD_STACKSIZE, t_motor_timing_update, NULL, NULL, NULL, RPM_THREAD_PRIORITY, 0, 0);

// -----------------------------------------------------------------------------
// Motor control: API (public functions)
// -----------------------------------------------------------------------------

int cb_motor_init(void)
{
    int err = 0;

    err = init_motor_io(&mfl, mfl_hall_isr);
    if (err)
    {
        return err;
    }
    set_motor_stop(&mfl);

    err = init_motor_io(&mfr, mfr_hall_isr);
    if (err)
    {
        return err;
    }
    set_motor_stop(&mfr);

    err = init_motor_io(&mbl, mbl_hall_isr);
    if (err)
    {
        return err;
    }
    set_motor_stop(&mbl);

    err = init_motor_io(&mbr, mbr_hall_isr);
    if (err)
    {
        return err;
    }
    set_motor_stop(&mbr);

    return 0;
}

void cb_set_motor_speed(cb_motor_speed_t *speeds)
{
    uint8_t mfl_dir = speeds->front_left > 0;
    uint8_t mfr_dir = speeds->front_right > 0;
    uint8_t mbl_dir = speeds->back_left > 0;
    uint8_t mbr_dir = speeds->back_right > 0;

    set_motor_direction(&mfl, mfl_dir, rpm_to_duty_cycle(speeds->front_left));
    set_motor_direction(&mfr, mfr_dir, rpm_to_duty_cycle(speeds->front_right));
    set_motor_direction(&mbl, mbl_dir, rpm_to_duty_cycle(speeds->back_left));
    set_motor_direction(&mbr, mbr_dir, rpm_to_duty_cycle(speeds->back_right));
}

void cb_stop(void)
{
    set_motor_stop(&mfl);
    set_motor_stop(&mfr);
    set_motor_stop(&mbl);
    set_motor_stop(&mbr);
}

void cb_get_motor_angle(cb_motor_angle_t *angles)
{
    angles->front_left = get_motor_angle(&mfl);
    angles->front_right = get_motor_angle(&mfr);
    angles->back_left = get_motor_angle(&mbl);
    angles->back_right = get_motor_angle(&mbr);
}

void cb_get_motor_speed(cb_motor_speed_t *speeds)
{
    speeds->front_left = get_motor_rpm(&mfl);
    speeds->front_right = get_motor_rpm(&mfr);
    speeds->back_left = get_motor_rpm(&mbl);
    speeds->back_right = get_motor_rpm(&mbr);
}
```

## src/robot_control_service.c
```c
/**
 * @file robot_control_service.c
 * @author Lowie Deferme <lowie.deferme@kuleuven.be>
 * @date 2025-01-02
 */

#include <zephyr/logging/log.h>
#include <zephyr/bluetooth/gatt.h>

#include "capbot.h"
#include "robot_control_service.h"

LOG_MODULE_REGISTER(robot_control_service, LOG_LEVEL_DBG);

// -----------------------------------------------------------------------------
// Motor drive characteristic
// -----------------------------------------------------------------------------

static ssize_t rcs_drive(struct bt_conn *conn, const struct bt_gatt_attr *attr, const void *buf, uint16_t len, uint16_t offset, uint8_t flags)
{
    LOG_DBG("handle: %u, conn: %p", attr->handle, (void *)conn);

    if (len != sizeof(rcs_drive_t))
    {
        LOG_WRN("Incorrect data length for drive attribute");
        return BT_GATT_ERR(BT_ATT_ERR_INVALID_ATTRIBUTE_LEN);
    }

    if (offset != 0)
    {
        LOG_WRN("Incorrect data offset for drive attribute");
        return BT_GATT_ERR(BT_ATT_ERR_INVALID_OFFSET);
    }

    rcs_drive_t pkt = *((rcs_drive_t *)buf);
    cb_motor_speed_t speeds = {.front_left = pkt.fl, .front_right = pkt.fr, .back_left = pkt.bl, .back_right = pkt.br};
    uint32_t duration = pkt.dur;

    LOG_DBG("Setting motors: {%d %d %d %d} for %u milliseconds", speeds.front_left, speeds.front_right, speeds.back_left, speeds.back_right, duration);
    cb_set_motor_speed(&speeds);
    k_sleep(K_MSEC(duration)); // BUG: Other characteristics can't be read during this delay?
    LOG_DBG("Setting motors: {0 0 0 0}");
    cb_stop();

    return len;
}

// -----------------------------------------------------------------------------
// Motor speed characteristic
// -----------------------------------------------------------------------------

static ssize_t rcs_speed_read(struct bt_conn *conn, const struct bt_gatt_attr *attr, void *buf, uint16_t len, uint16_t offset)
{
    LOG_DBG("handle: %u, conn: %p", attr->handle, (void *)conn);

    cb_motor_speed_t speeds;
    cb_get_motor_speed(&speeds);

    rcs_speed_t pkt = {.fl = speeds.front_left, .fr = speeds.front_right, .bl = speeds.back_left, .br = speeds.back_right};
    return bt_gatt_attr_read(conn, attr, buf, len, offset, &pkt, sizeof(pkt));
}

// -----------------------------------------------------------------------------
// Motor angle characteristic
// -----------------------------------------------------------------------------

static ssize_t rcs_angle_read(struct bt_conn *conn, const struct bt_gatt_attr *attr, void *buf, uint16_t len, uint16_t offset)
{
    LOG_DBG("handle: %u, conn: %p", attr->handle, (void *)conn);

    cb_motor_angle_t angles;
    cb_get_motor_angle(&angles);

    rcs_angle_t pkt = {.fl = angles.front_left, .fr = angles.front_right, .bl = angles.back_left, .br = angles.back_right};
    return bt_gatt_attr_read(conn, attr, buf, len, offset, &pkt, sizeof(pkt));
}

// -----------------------------------------------------------------------------
// Voltage measurement characteristic
// -----------------------------------------------------------------------------

static ssize_t rcs_volt_read(struct bt_conn *conn, const struct bt_gatt_attr *attr, void *buf, uint16_t len, uint16_t offset)
{
    LOG_DBG("handle: %u, conn: %p", attr->handle, (void *)conn);

    int vcap = cb_measure_vcap();
    LOG_DBG("measured voltage: %u", vcap);

    rcs_volt_t pkt = {.volt = vcap};
    return bt_gatt_attr_read(conn, attr, buf, len, offset, &pkt, sizeof(pkt));
}

// -----------------------------------------------------------------------------
// Robot Control Service (RCS)
// -----------------------------------------------------------------------------

BT_GATT_SERVICE_DEFINE(
    // Robot Control Service
    rcs_svc, BT_GATT_PRIMARY_SERVICE(BT_UUID_RCS),
    // Motor drive characteristic
    BT_GATT_CHARACTERISTIC(BT_UUID_RCS_DRIVE,
                           BT_GATT_CHRC_WRITE | BT_GATT_CHRC_WRITE_WITHOUT_RESP,
                           BT_GATT_PERM_WRITE,
                           NULL, rcs_drive, NULL),
    // Motor speed characteristic
    BT_GATT_CHARACTERISTIC(BT_UUID_RCS_SPEED,
                           BT_GATT_CHRC_READ,
                           BT_GATT_PERM_READ,
                           rcs_speed_read, NULL, NULL),
    // Motor angle characteristic
    BT_GATT_CHARACTERISTIC(BT_UUID_RCS_ANGLE,
                           BT_GATT_CHRC_READ,
                           BT_GATT_PERM_READ,
                           rcs_angle_read, NULL, NULL),
    // Voltage measurement characteristic
    BT_GATT_CHARACTERISTIC(BT_UUID_RCS_VOLT,
                           BT_GATT_CHRC_READ,
                           BT_GATT_PERM_READ,
                           rcs_volt_read, NULL, NULL),
    // TODO: Notify when V drops below setvalue
);
```
